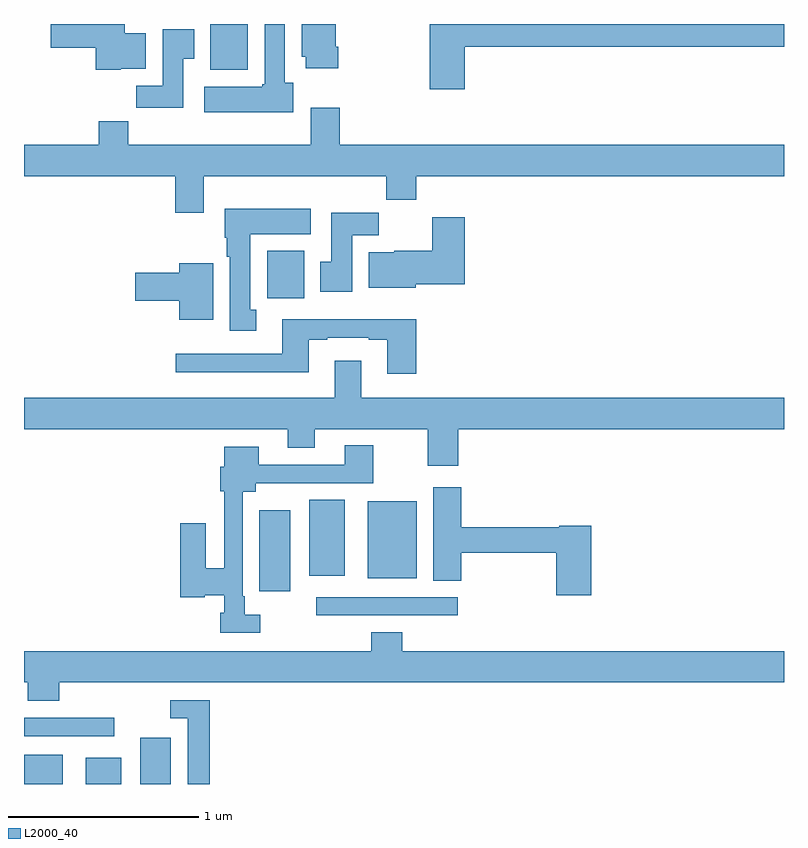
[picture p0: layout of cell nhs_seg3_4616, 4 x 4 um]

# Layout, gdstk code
import gdstk
lib = gdstk.Library(unit=1e-6, precision=1e-09)
def R(c, l, rs):  # rectangles x0, y0, x1, y1
    for r in rs: c.add(gdstk.rectangle(r[:2], r[2:], *l))
def P(c, l, *ps):  # polygons
    for p in ps: c.add(gdstk.Polygon(p, *l))
L2000_40 = (2000, 40)

nhs_seg3_4616 = lib.new_cell('nhs_seg3_4616')
R(nhs_seg3_4616, L2000_40, [(359,680.4,359.203,680.554), (359.324,680.4,359.512,680.539), (359.612,680.4,359.773,680.644), (359,680.652,359.476,680.748), (360.537,681.288,361.282,681.384), (360.239,681.414,360.4,681.841), (360.809,681.482,361.066,681.889), (360.5,681.497,360.688,681.895), (360.279,682.956,360.475,683.206), (359.981,684.158,360.178,684.4)])
P(nhs_seg3_4616, L2000_40, [(361.319,684.28),(363,684.28),(363,684.4),(361.136,684.4),(361.136,684.057),(361.319,684.057)],
  [(360.418,684.09),(360.373,684.09),(360.373,684.4),(360.266,684.4),(360.266,684.084),(360.253,684.084),(360.253,684.07),(359.949,684.07),(359.949,683.936),(360.418,683.936)],
  [(360.653,684.28),(360.64,684.28),(360.64,684.4),(360.461,684.4),(360.461,684.228),(360.482,684.228),(360.482,684.168),(360.653,684.168)],
  [(359.508,684.164),(359.641,684.164),(359.641,684.352),(359.53,684.352),(359.53,684.4),(359.142,684.4),(359.142,684.275),(359.378,684.275),(359.378,684.158),(359.508,684.158)],
  [(359.839,684.217),(359.896,684.217),(359.896,684.373),(359.729,684.373),(359.729,684.076),(359.59,684.076),(359.59,683.958),(359.839,683.958)],
  [(359.947,683.6),(360.907,683.6),(360.907,683.476),(361.064,683.476),(361.064,683.6),(363,683.6),(363,683.764),(360.662,683.764),(360.662,683.959),(360.509,683.959),(360.509,683.764),(359.549,683.764),(359.549,683.888),(359.393,683.888),(359.393,683.764),(359,683.764),(359,683.6),(359.795,683.6),(359.795,683.406),(359.947,683.406)],
  [(360.223,682.897),(360.19,682.897),(360.19,683.294),(360.508,683.294),(360.508,683.428),(360.056,683.428),(360.056,683.274),(360.068,683.274),(360.068,683.174),(360.083,683.174),(360.083,682.785),(360.223,682.785)],
  [(360.727,683.288),(360.866,683.288),(360.866,683.407),(360.617,683.407),(360.617,683.148),(360.56,683.148),(360.56,682.992),(360.727,682.992)],
  [(361.062,683.03),(361.319,683.03),(361.319,683.383),(361.148,683.383),(361.148,683.206),(360.948,683.206),(360.948,683.2),(360.815,683.2),(360.815,683.012),(361.062,683.012)],
  [(359.995,683.14),(359.816,683.14),(359.816,683.09),(359.586,683.09),(359.586,682.943),(359.816,682.943),(359.816,682.844),(359.995,682.844)],
  [(361.064,682.846),(360.359,682.846),(360.359,682.665),(359.799,682.665),(359.799,682.568),(360.499,682.568),(360.499,682.737),(360.595,682.737),(360.595,682.749),(360.815,682.749),(360.815,682.737),(360.911,682.737),(360.911,682.56),(361.064,682.56)],
  [(360.775,682.627),(360.635,682.627),(360.635,682.432),(359,682.432),(359,682.268),(360.389,682.268),(360.389,682.169),(360.529,682.169),(360.529,682.268),(361.126,682.268),(361.126,682.074),(361.286,682.074),(361.286,682.268),(363,682.268),(363,682.432),(360.775,682.432)],
  [(360.244,681.291),(360.162,681.291),(360.162,681.388),(360.15,681.388),(360.15,681.938),(360.22,681.938),(360.22,681.984),(360.837,681.984),(360.837,682.183),(360.689,682.183),(360.689,682.08),(360.235,682.08),(360.235,682.174),(360.053,682.174),(360.053,682.07),(360.034,682.07),(360.034,681.942),(360.054,681.942),(360.054,681.536),(359.956,681.536),(359.956,681.772),(359.822,681.772),(359.822,681.383),(359.952,681.383),(359.952,681.394),(360.054,681.394),(360.054,681.302),(360.034,681.302),(360.034,681.195),(360.244,681.195)],
  [(361.985,681.76),(361.818,681.76),(361.818,681.752),(361.301,681.752),(361.301,681.961),(361.154,681.961),(361.154,681.469),(361.301,681.469),(361.301,681.616),(361.802,681.616),(361.802,681.393),(361.985,681.393)],
  [(360.827,681.199),(360.827,681.1),(359,681.1),(359,680.936),(359.021,680.936),(359.021,680.837),(359.186,680.837),(359.186,680.936),(363,680.936),(363,681.1),(360.992,681.1),(360.992,681.199)],
  [(359.978,680.841),(359.769,680.841),(359.769,680.745),(359.862,680.745),(359.862,680.4),(359.978,680.4)])

lib.write_gds('nhs_seg3_4616.gds')
